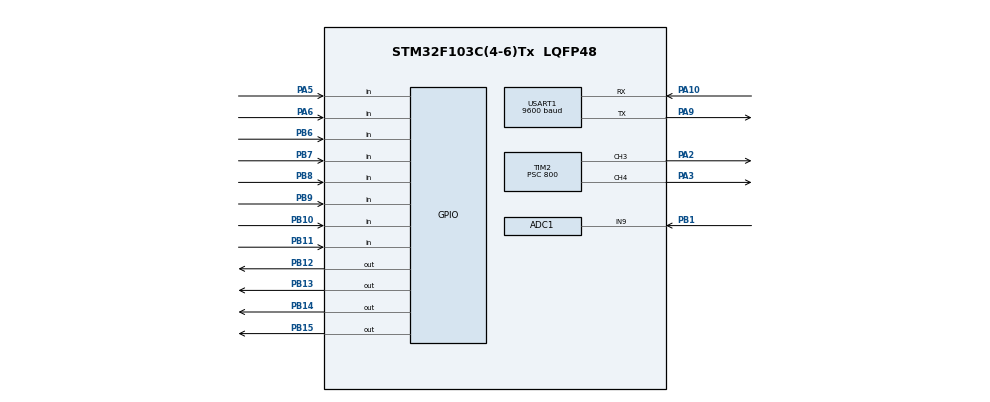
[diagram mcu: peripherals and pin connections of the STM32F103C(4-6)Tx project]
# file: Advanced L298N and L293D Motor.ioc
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ADC1.Channel-0\#ChannelRegularConversion=ADC_CHANNEL_9
ADC1.ContinuousConvMode=ENABLE
ADC1.NbrOfConversionFlag=1
ADC1.Rank-0\#ChannelRegularConversion=1
ADC1.SamplingTime-0\#ChannelRegularConversion=ADC_SAMPLETIME_1CYCLE_5
ADC1.master=1
Mcu.Family=STM32F1
Mcu.Name=STM32F103C(4-6)Tx
Mcu.Package=LQFP48
NVIC.PriorityGroup=NVIC_PRIORITYGROUP_4
PA10.Mode=Asynchronous
PA10.Signal=USART1_RX
PA2.Signal=S_TIM2_CH3
PA3.Signal=S_TIM2_CH4
PA5.Signal=GPIO_Input
PA6.Signal=GPIO_Input
PA9.Mode=Asynchronous
PA9.Signal=USART1_TX
PB1.Signal=ADCx_IN9
PB10.GPIO_PuPd=GPIO_PULLUP
PB10.Signal=GPIO_Input
PB11.GPIO_PuPd=GPIO_PULLUP
PB11.Signal=GPIO_Input
PB12.Signal=GPIO_Output
PB13.Signal=GPIO_Output
PB14.Signal=GPIO_Output
PB15.Signal=GPIO_Output
PB6.GPIO_PuPd=GPIO_PULLUP
PB6.Signal=GPIO_Input
PB7.GPIO_PuPd=GPIO_PULLUP
PB7.Signal=GPIO_Input
PB8.GPIO_PuPd=GPIO_PULLUP
PB8.Signal=GPIO_Input
PB9.GPIO_PuPd=GPIO_PULLUP
PB9.Signal=GPIO_Input
PC14-OSC32_IN.Mode=LSE-External-Oscillator
PC14-OSC32_IN.Signal=RCC_OSC32_IN
PC15-OSC32_OUT.Mode=LSE-External-Oscillator
PC15-OSC32_OUT.Signal=RCC_OSC32_OUT
PD0-OSC_IN.Mode=HSE-External-Clock-Source
PD0-OSC_IN.Signal=RCC_OSC_IN
PD1-OSC_OUT.Mode=HSE-External-Clock-Source
PD1-OSC_OUT.Signal=RCC_OSC_OUT
ProjectManager.HeapSize=0x200
ProjectManager.StackSize=0x400
ProjectManager.TargetToolchain=STM32CubeIDE
RCC.ADCPresc=RCC_ADCPCLK2_DIV6
RCC.APB1CLKDivider=RCC_HCLK_DIV2
RCC.APB1Freq_Value=4000000
RCC.APB1TimFreq_Value=8000000
RCC.APB2Freq_Value=8000000
SH.ADCx_IN9.0=ADC1_IN9,IN9
SH.S_TIM2_CH3.0=TIM2_CH3,PWM Generation3 CH3
SH.S_TIM2_CH4.0=TIM2_CH4,PWM Generation4 CH4
TIM2.Channel-PWM\ Generation3\ CH3=TIM_CHANNEL_3
TIM2.Channel-PWM\ Generation4\ CH4=TIM_CHANNEL_4
TIM2.Period=1000
TIM2.Prescaler=800
TIM2.Pulse-PWM\ Generation3\ CH3=500
TIM2.Pulse-PWM\ Generation4\ CH4=500
USART1.BaudRate=9600
USART1.VirtualMode=VM_ASYNC
VP_SYS_VS_ND.Mode=No_Debug
VP_TIM2_VS_ClockSourceINT.Mode=Internal
board=custom

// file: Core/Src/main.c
/* USER CODE BEGIN Header */
/**
  ******************************************************************************
  * @file           : main.c
  * @brief          : Main program body
  ******************************************************************************
  * @attention
  *
  * Copyright (c) 2025 STMicroelectronics.
  * All rights reserved.
  *
  * This software is licensed under terms that can be found in the LICENSE file
  * in the root directory of this software component.
  * If no LICENSE file comes with this software, it is provided AS-IS.
  *
  ******************************************************************************
  */
/* USER CODE END Header */
#include "main.h"

/* USER CODE BEGIN Includes */
#include "stdio.h"
/* USER CODE END Includes */

ADC_HandleTypeDef hadc1;

TIM_HandleTypeDef htim2;

UART_HandleTypeDef huart1;

void SystemClock_Config(void);
static void MX_GPIO_Init(void);
static void MX_ADC1_Init(void);
static void MX_TIM2_Init(void);
static void MX_USART1_UART_Init(void);

int main(void)
{

  /* USER CODE BEGIN 1 */
uint16_t readValue;
int speed;
char str[20];
  /* USER CODE END 1 */

  /* MCU Configuration--------------------------------------------------------*/

  /* Reset of all peripherals, Initializes the Flash interface and the Systick. */
  HAL_Init();

  /* Configure the system clock */
  SystemClock_Config();

  /* Initialize all configured peripherals */
  MX_GPIO_Init();
  MX_ADC1_Init();
  MX_TIM2_Init();
  MX_USART1_UART_Init();
  /* USER CODE BEGIN 2 */
  HAL_ADC_Start(&hadc1);  //PB1
   // HAL_ADCEx_Calibration_Start(&hadc1);
  HAL_TIM_Base_Start(&htim2);               //Initialize stm32 timer 3
  HAL_TIM_PWM_Start(&htim2,TIM_CHANNEL_3);  //PB0 Start pwm second motor 100% duty cycle

  /* USER CODE END 2 */

  /* Infinite loop */
  while (1)
  {

    /* USER CODE BEGIN 3 */
	  //stop
	  //HAL_TIME_PWM_Start(&htime2, TIM_CHANNEL_3); //PB0 start pwm second motor 100% duty cycle
	  switch(HAL_GPIO_ReadPin(GPIOA, GPIO_PIN_6))
	  {
	  case GPIO_PIN_SET: // L298 Drive Motor
		  HAL_TIM_PWM_Start(&htim2, TIM_CHANNEL_4); //PB0 start pwm second motor 100% duty cycle
		  HAL_ADC_PollForConversion(&hadc1, 1000);
		  readValue = HAL_ADC_GetValue(&hadc1);
		  readValue = (readValue << 4);
		  sprintf(str,"ADC value = %u ", readValue);
		  HAL_UART_Transmit(&huart1, (uint8_t*)str, sizeof(str), 100);
		  HAL_UART_Transmit(&huart1, (uint8_t*)&"\n\r", 2, 2);
		  HAL_Delay(200);
		  if(readValue < 1872){
			  HAL_GPIO_WritePin(GPIOB, GPIO_PIN_14, 0);
			  HAL_GPIO_WritePin(GPIOB, GPIO_PIN_15, 1);
			  speed = (readValue - 1800) * (-1);
		  }else if (readValue > 1900){
			  HAL_GPIO_WritePin(GPIOB, GPIO_PIN_15, 0);
			  HAL_GPIO_WritePin(GPIOB, GPIO_PIN_14, 1);
			  speed = (readValue - 1800);
		  }else{
			  speed = 0;
		  }
		  __HAL_TIM_SET_COMPARE(&htim2,TIM_CHANNEL_4,speed);
		  HAL_Delay(50);
		  break;
	  case GPIO_PIN_RESET: //L293D Motor
		  //STOP L298 Drive Motor
		  HAL_GPIO_WritePin(GPIOB, GPIO_PIN_14, 0);
		  HAL_GPIO_WritePin(GPIOB, GPIO_PIN_15, 0);
		  if(HAL_GPIO_ReadPin(GPIOB, GPIO_PIN_6)==GPIO_PIN_RESET)
		  {
			  HAL_GPIO_WritePin(GPIOB, GPIO_PIN_12, 0);
			  HAL_GPIO_WritePin(GPIOB, GPIO_PIN_13, 0);
			  HAL_GPIO_WritePin(GPIOB, GPIO_PIN_14, 0);
			  HAL_GPIO_WritePin(GPIOB, GPIO_PIN_15, 0);
		  }
		  //CLOCKWISE
		  if(HAL_GPIO_ReadPin(GPIOB, GPIO_PIN_7)==GPIO_PIN_RESET)
		  {
			  HAL_GPIO_WritePin(GPIOB, GPIO_PIN_12, 1);
			  HAL_GPIO_WritePin(GPIOB, GPIO_PIN_13, 0);
		  }
		  //ANTI-CLOCKWISE
		  if(HAL_GPIO_ReadPin(GPIOB, GPIO_PIN_8)==GPIO_PIN_RESET)
		  {
			  HAL_GPIO_WritePin(GPIOB, GPIO_PIN_12, 0);
			  HAL_GPIO_WritePin(GPIOB, GPIO_PIN_13, 1);
		  }
		  //MOTOR ROTATE AT 25% DUTY CYCLE
		  if(HAL_GPIO_ReadPin(GPIOB, GPIO_PIN_9)==GPIO_PIN_RESET)
		  {
			  __HAL_TIM_SET_COMPARE(&htim2, TIM_CHANNEL_3, 25);
		  }
		  //MOTOR ROTATE AT 50% DUTY CYCLE
		  if(HAL_GPIO_ReadPin(GPIOB, GPIO_PIN_10)==GPIO_PIN_RESET)
		  {
			  __HAL_TIM_SET_COMPARE(&htim2, TIM_CHANNEL_3, 50);
		  }
		  //MOTOR ROTATE AT 75% DUTY CYCLE
		  if(HAL_GPIO_ReadPin(GPIOB, GPIO_PIN_11)==GPIO_PIN_RESET)
		  {
			  __HAL_TIM_SET_COMPARE(&htim2, TIM_CHANNEL_3, 75);
		  }
		  break;
		  default:
			  break;

	  }
  }
  /* USER CODE END 3 */
}

void SystemClock_Config(void)
{
  RCC_OscInitTypeDef RCC_OscInitStruct = {0};
  RCC_ClkInitTypeDef RCC_ClkInitStruct = {0};
  RCC_PeriphCLKInitTypeDef PeriphClkInit = {0};

  /** Initializes the RCC Oscillators according to the specified parameters
  * in the RCC_OscInitTypeDef structure.
  */
  RCC_OscInitStruct.OscillatorType = RCC_OSCILLATORTYPE_HSI;
  RCC_OscInitStruct.HSIState = RCC_HSI_ON;
  RCC_OscInitStruct.HSICalibrationValue = RCC_HSICALIBRATION_DEFAULT;
  RCC_OscInitStruct.PLL.PLLState = RCC_PLL_NONE;
  if (HAL_RCC_OscConfig(&RCC_OscInitStruct) != HAL_OK)
  {
    Error_Handler();
  }

  /** Initializes the CPU, AHB and APB buses clocks
  */
  RCC_ClkInitStruct.ClockType = RCC_CLOCKTYPE_HCLK|RCC_CLOCKTYPE_SYSCLK
                              |RCC_CLOCKTYPE_PCLK1|RCC_CLOCKTYPE_PCLK2;
  RCC_ClkInitStruct.SYSCLKSource = RCC_SYSCLKSOURCE_HSI;
  RCC_ClkInitStruct.AHBCLKDivider = RCC_SYSCLK_DIV1;
  RCC_ClkInitStruct.APB1CLKDivider = RCC_HCLK_DIV2;
  RCC_ClkInitStruct.APB2CLKDivider = RCC_HCLK_DIV1;

  if (HAL_RCC_ClockConfig(&RCC_ClkInitStruct, FLASH_LATENCY_0) != HAL_OK)
  {
    Error_Handler();
  }
  PeriphClkInit.PeriphClockSelection = RCC_PERIPHCLK_ADC;
  PeriphClkInit.AdcClockSelection = RCC_ADCPCLK2_DIV6;
  if (HAL_RCCEx_PeriphCLKConfig(&PeriphClkInit) != HAL_OK)
  {
    Error_Handler();
  }
}

static void MX_ADC1_Init(void)
{

  ADC_ChannelConfTypeDef sConfig = {0};

  /** Common config
  */
  hadc1.Instance = ADC1;
  hadc1.Init.ScanConvMode = ADC_SCAN_DISABLE;
  hadc1.Init.ContinuousConvMode = ENABLE;
  hadc1.Init.DiscontinuousConvMode = DISABLE;
  hadc1.Init.ExternalTrigConv = ADC_SOFTWARE_START;
  hadc1.Init.DataAlign = ADC_DATAALIGN_RIGHT;
  hadc1.Init.NbrOfConversion = 1;
  if (HAL_ADC_Init(&hadc1) != HAL_OK)
  {
    Error_Handler();
  }

  /** Configure Regular Channel
  */
  sConfig.Channel = ADC_CHANNEL_9;
  sConfig.Rank = ADC_REGULAR_RANK_1;
  sConfig.SamplingTime = ADC_SAMPLETIME_1CYCLE_5;
  if (HAL_ADC_ConfigChannel(&hadc1, &sConfig) != HAL_OK)
  {
    Error_Handler();
  }

}

static void MX_TIM2_Init(void)
{

  TIM_ClockConfigTypeDef sClockSourceConfig = {0};
  TIM_MasterConfigTypeDef sMasterConfig = {0};
  TIM_OC_InitTypeDef sConfigOC = {0};

  htim2.Instance = TIM2;
  htim2.Init.Prescaler = 800;
  htim2.Init.CounterMode = TIM_COUNTERMODE_UP;
  htim2.Init.Period = 1000;
  htim2.Init.ClockDivision = TIM_CLOCKDIVISION_DIV1;
  htim2.Init.AutoReloadPreload = TIM_AUTORELOAD_PRELOAD_DISABLE;
  if (HAL_TIM_Base_Init(&htim2) != HAL_OK)
  {
    Error_Handler();
  }
  sClockSourceConfig.ClockSource = TIM_CLOCKSOURCE_INTERNAL;
  if (HAL_TIM_ConfigClockSource(&htim2, &sClockSourceConfig) != HAL_OK)
  {
    Error_Handler();
  }
  if (HAL_TIM_PWM_Init(&htim2) != HAL_OK)
  {
    Error_Handler();
  }
  sMasterConfig.MasterOutputTrigger = TIM_TRGO_RESET;
  sMasterConfig.MasterSlaveMode = TIM_MASTERSLAVEMODE_DISABLE;
  if (HAL_TIMEx_MasterConfigSynchronization(&htim2, &sMasterConfig) != HAL_OK)
  {
    Error_Handler();
  }
  sConfigOC.OCMode = TIM_OCMODE_PWM1;
  sConfigOC.Pulse = 500;
  sConfigOC.OCPolarity = TIM_OCPOLARITY_HIGH;
  sConfigOC.OCFastMode = TIM_OCFAST_DISABLE;
  if (HAL_TIM_PWM_ConfigChannel(&htim2, &sConfigOC, TIM_CHANNEL_3) != HAL_OK)
  {
    Error_Handler();
  }
  if (HAL_TIM_PWM_ConfigChannel(&htim2, &sConfigOC, TIM_CHANNEL_4) != HAL_OK)
  {
    Error_Handler();
  }
  HAL_TIM_MspPostInit(&htim2);

}

static void MX_USART1_UART_Init(void)
{

  huart1.Instance = USART1;
  huart1.Init.BaudRate = 9600;
  huart1.Init.WordLength = UART_WORDLENGTH_8B;
  huart1.Init.StopBits = UART_STOPBITS_1;
  huart1.Init.Parity = UART_PARITY_NONE;
  huart1.Init.Mode = UART_MODE_TX_RX;
  huart1.Init.HwFlowCtl = UART_HWCONTROL_NONE;
  huart1.Init.OverSampling = UART_OVERSAMPLING_16;
  if (HAL_UART_Init(&huart1) != HAL_OK)
  {
    Error_Handler();
  }

}

static void MX_GPIO_Init(void)
{
  GPIO_InitTypeDef GPIO_InitStruct = {0};

  /* GPIO Ports Clock Enable */
  __HAL_RCC_GPIOC_CLK_ENABLE();
  __HAL_RCC_GPIOD_CLK_ENABLE();
  __HAL_RCC_GPIOA_CLK_ENABLE();
  __HAL_RCC_GPIOB_CLK_ENABLE();

  /*Configure GPIO pin Output Level */
  HAL_GPIO_WritePin(GPIOB, GPIO_PIN_12|GPIO_PIN_13|GPIO_PIN_14|GPIO_PIN_15, GPIO_PIN_RESET);

  /*Configure GPIO pins : PA5 PA6 */
  GPIO_InitStruct.Pin = GPIO_PIN_5|GPIO_PIN_6;
  GPIO_InitStruct.Mode = GPIO_MODE_INPUT;
  GPIO_InitStruct.Pull = GPIO_NOPULL;
  HAL_GPIO_Init(GPIOA, &GPIO_InitStruct);

  /*Configure GPIO pins : PB10 PB11 PB6 PB7
                           PB8 PB9 */
  GPIO_InitStruct.Pin = GPIO_PIN_10|GPIO_PIN_11|GPIO_PIN_6|GPIO_PIN_7
                          |GPIO_PIN_8|GPIO_PIN_9;
  GPIO_InitStruct.Mode = GPIO_MODE_INPUT;
  GPIO_InitStruct.Pull = GPIO_PULLUP;
  HAL_GPIO_Init(GPIOB, &GPIO_InitStruct);

  /*Configure GPIO pins : PB12 PB13 PB14 PB15 */
  GPIO_InitStruct.Pin = GPIO_PIN_12|GPIO_PIN_13|GPIO_PIN_14|GPIO_PIN_15;
  GPIO_InitStruct.Mode = GPIO_MODE_OUTPUT_PP;
  GPIO_InitStruct.Pull = GPIO_NOPULL;
  GPIO_InitStruct.Speed = GPIO_SPEED_FREQ_LOW;
  HAL_GPIO_Init(GPIOB, &GPIO_InitStruct);

}

void Error_Handler(void)
{
  __disable_irq();
  while (1)
  {
  }
}
